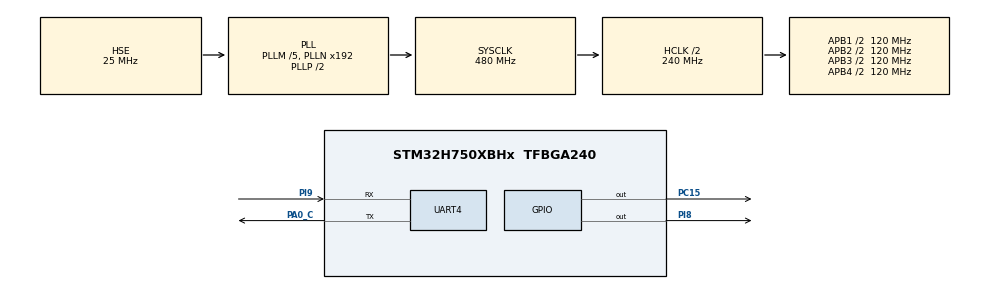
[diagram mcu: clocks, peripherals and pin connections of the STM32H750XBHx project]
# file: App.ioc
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CORTEX_M7.AccessPermission_S-Cortex_Memory_Protection_Unit_Region1_Settings_S=MPU_REGION_FULL_ACCESS
CORTEX_M7.AccessPermission_S-Cortex_Memory_Protection_Unit_Region2_Settings_S=MPU_REGION_FULL_ACCESS
CORTEX_M7.AccessPermission_S-Cortex_Memory_Protection_Unit_Region3_Settings_S=MPU_REGION_FULL_ACCESS
CORTEX_M7.AccessPermission_S-Cortex_Memory_Protection_Unit_Region4_Settings_S=MPU_REGION_FULL_ACCESS
CORTEX_M7.AccessPermission_S-Cortex_Memory_Protection_Unit_Region5_Settings_S=MPU_REGION_FULL_ACCESS
CORTEX_M7.AccessPermission_S-Cortex_Memory_Protection_Unit_Region6_Settings_S=MPU_REGION_FULL_ACCESS
CORTEX_M7.AccessPermission_Spec=MPU_REGION_FULL_ACCESS
CORTEX_M7.BaseAddress_S-Cortex_Memory_Protection_Unit_Region1_Settings_S=0x24000000
CORTEX_M7.BaseAddress_S-Cortex_Memory_Protection_Unit_Region2_Settings_S=0xC0000000
CORTEX_M7.BaseAddress_S-Cortex_Memory_Protection_Unit_Region3_Settings_S=0x60000000
CORTEX_M7.BaseAddress_S-Cortex_Memory_Protection_Unit_Region4_Settings_S=0x30000000
CORTEX_M7.BaseAddress_S-Cortex_Memory_Protection_Unit_Region5_Settings_S=0x30040000
CORTEX_M7.BaseAddress_S-Cortex_Memory_Protection_Unit_Region6_Settings_S=0x38000000
CORTEX_M7.BaseAddress_Spec=0x90000000
CORTEX_M7.CPU_DCache=Enabled
CORTEX_M7.CPU_ICache=Enabled
CORTEX_M7.DisableExec_Spec=MPU_INSTRUCTION_ACCESS_ENABLE
CORTEX_M7.Enable_S-Cortex_Memory_Protection_Unit_Region1_Settings_S=MPU_REGION_ENABLE
CORTEX_M7.Enable_S-Cortex_Memory_Protection_Unit_Region2_Settings_S=MPU_REGION_ENABLE
CORTEX_M7.Enable_S-Cortex_Memory_Protection_Unit_Region3_Settings_S=MPU_REGION_ENABLE
CORTEX_M7.Enable_S-Cortex_Memory_Protection_Unit_Region4_Settings_S=MPU_REGION_ENABLE
CORTEX_M7.Enable_S-Cortex_Memory_Protection_Unit_Region5_Settings_S=MPU_REGION_ENABLE
CORTEX_M7.Enable_S-Cortex_Memory_Protection_Unit_Region6_Settings_S=MPU_REGION_ENABLE
CORTEX_M7.Enable_S-Cortex_Memory_Protection_Unit_Region7_Settings_S=__NULL
CORTEX_M7.IsBufferable_S-Cortex_Memory_Protection_Unit_Region1_Settings_S=MPU_ACCESS_NOT_BUFFERABLE
CORTEX_M7.IsBufferable_S-Cortex_Memory_Protection_Unit_Region2_Settings_S=MPU_ACCESS_BUFFERABLE
CORTEX_M7.IsBufferable_S-Cortex_Memory_Protection_Unit_Region3_Settings_S=MPU_ACCESS_BUFFERABLE
CORTEX_M7.IsBufferable_S-Cortex_Memory_Protection_Unit_Region4_Settings_S=MPU_ACCESS_BUFFERABLE
CORTEX_M7.IsBufferable_S-Cortex_Memory_Protection_Unit_Region5_Settings_S=MPU_ACCESS_BUFFERABLE
CORTEX_M7.IsBufferable_S-Cortex_Memory_Protection_Unit_Region6_Settings_S=MPU_ACCESS_BUFFERABLE
CORTEX_M7.IsBufferable_Spec=MPU_ACCESS_BUFFERABLE
CORTEX_M7.IsCacheable_S-Cortex_Memory_Protection_Unit_Region1_Settings_S=MPU_ACCESS_NOT_CACHEABLE
CORTEX_M7.IsCacheable_S-Cortex_Memory_Protection_Unit_Region2_Settings_S=MPU_ACCESS_CACHEABLE
CORTEX_M7.IsCacheable_S-Cortex_Memory_Protection_Unit_Region4_Settings_S=MPU_ACCESS_CACHEABLE
CORTEX_M7.IsCacheable_S-Cortex_Memory_Protection_Unit_Region5_Settings_S=MPU_ACCESS_CACHEABLE
CORTEX_M7.IsCacheable_S-Cortex_Memory_Protection_Unit_Region6_Settings_S=MPU_ACCESS_CACHEABLE
CORTEX_M7.IsCacheable_Spec=MPU_ACCESS_CACHEABLE
CORTEX_M7.IsShareable_Spec=MPU_ACCESS_NOT_SHAREABLE
CORTEX_M7.MPU_Control=MPU_HFNMI_PRIVDEF
CORTEX_M7.Size_S-Cortex_Memory_Protection_Unit_Region1_Settings_S=MPU_REGION_SIZE_512KB
CORTEX_M7.Size_S-Cortex_Memory_Protection_Unit_Region2_Settings_S=MPU_REGION_SIZE_512KB
CORTEX_M7.Size_S-Cortex_Memory_Protection_Unit_Region3_Settings_S=MPU_REGION_SIZE_64KB
CORTEX_M7.Size_S-Cortex_Memory_Protection_Unit_Region4_Settings_S=MPU_REGION_SIZE_256KB
CORTEX_M7.Size_S-Cortex_Memory_Protection_Unit_Region5_Settings_S=MPU_REGION_SIZE_32KB
CORTEX_M7.Size_S-Cortex_Memory_Protection_Unit_Region6_Settings_S=MPU_REGION_SIZE_64KB
CORTEX_M7.Size_Spec=MPU_REGION_SIZE_256MB
CORTEX_M7.SubRegionDisable_Spec=0x0
CORTEX_M7.TypeExtField_S-Cortex_Memory_Protection_Unit_Region1_Settings_S=MPU_TEX_LEVEL1
CORTEX_M7.TypeExtField_S-Cortex_Memory_Protection_Unit_Region2_Settings_S=MPU_TEX_LEVEL1
CORTEX_M7.TypeExtField_S-Cortex_Memory_Protection_Unit_Region3_Settings_S=MPU_TEX_LEVEL0
CORTEX_M7.TypeExtField_S-Cortex_Memory_Protection_Unit_Region4_Settings_S=MPU_TEX_LEVEL1
CORTEX_M7.TypeExtField_S-Cortex_Memory_Protection_Unit_Region5_Settings_S=MPU_TEX_LEVEL1
CORTEX_M7.TypeExtField_S-Cortex_Memory_Protection_Unit_Region6_Settings_S=MPU_TEX_LEVEL1
CORTEX_M7.TypeExtField_Spec=MPU_TEX_LEVEL1
CORTEX_M7.default_mode_Activation=1
Mcu.Family=STM32H7
Mcu.Name=STM32H750XBHx
Mcu.Package=TFBGA240
NVIC.PriorityGroup=NVIC_PRIORITYGROUP_4
PA0_C.Mode=Asynchronous
PA0_C.Signal=UART4_TX
PC14-OSC32_IN\ (OSC32_IN).Mode=LSE-External-Clock-Source
PC14-OSC32_IN\ (OSC32_IN).Signal=RCC_OSC32_IN
PC15-OSC32_OUT\ (OSC32_OUT).PinState=GPIO_PIN_SET
PC15-OSC32_OUT\ (OSC32_OUT).Signal=GPIO_Output
PH0-OSC_IN\ (PH0).Mode=HSE-External-Oscillator
PH0-OSC_IN\ (PH0).Signal=RCC_OSC_IN
PH1-OSC_OUT\ (PH1).Mode=HSE-External-Oscillator
PH1-OSC_OUT\ (PH1).Signal=RCC_OSC_OUT
PI8.PinState=GPIO_PIN_SET
PI8.Signal=GPIO_Output
PI9.Mode=Asynchronous
PI9.Signal=UART4_RX
ProjectManager.HeapSize=0x200
ProjectManager.StackSize=0x400
ProjectManager.TargetToolchain=MDK-ARM V5.32
RCC.ADCFreq_Value=300000000
RCC.APB1Freq_Value=120000000
RCC.APB2Freq_Value=120000000
RCC.APB3Freq_Value=120000000
RCC.APB4Freq_Value=120000000
RCC.CortexFreq_Value=480000000
RCC.D1PPRE=RCC_APB3_DIV2
RCC.D2PPRE1=RCC_APB1_DIV2
RCC.D2PPRE2=RCC_APB2_DIV2
RCC.D3PPRE=RCC_APB4_DIV2
RCC.DIVM1=5
RCC.DIVM2=5
RCC.DIVN1=192
RCC.DIVN2=120
RCC.FMCCLockSelection=RCC_FMCCLKSOURCE_PLL2
RCC.HCLKFreq_Value=240000000
RCC.HPRE=RCC_HCLK_DIV2
RCC.PLLSourceVirtual=RCC_PLLSOURCE_HSE
RCC.PWR_Regulator_Voltage_Scale=PWR_REGULATOR_VOLTAGE_SCALE0
RCC.ProductRev=revV
RCC.SYSCLKFreq_VALUE=480000000
RCC.SYSCLKSource=RCC_SYSCLKSOURCE_PLLCLK
RCC.USBFreq_Value=480000000
board=custom

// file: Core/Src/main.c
/* USER CODE BEGIN Header */
/**
  ******************************************************************************
  * @file           : main.c
  * @brief          : Main program body
  ******************************************************************************
  * @attention
  *
  * Copyright (c) 2023 STMicroelectronics.
  * All rights reserved.
  *
  * This software is licensed under terms that can be found in the LICENSE file
  * in the root directory of this software component.
  * If no LICENSE file comes with this software, it is provided AS-IS.
  *
  ******************************************************************************
  */
/* USER CODE END Header */
#include "main.h"
#include "usart.h"
#include "gpio.h"

/* USER CODE BEGIN Includes */
#include "stdio.h"
#include "EventRecorder.h"
/* USER CODE END Includes */

void SystemClock_Config(void);
static void MPU_Config(void);

/* USER CODE BEGIN 0 */
static void vtor_config(void)
{
    SCB->VTOR = QSPI_BASE;		// 重定位中断向量表

    /* clear all NVIC Enable and Pending registers */
    for(uint8_t i = 0; i < 8; i++)
    {
        NVIC->ICER[i] = 0xFFFFFFFF;
        NVIC->ICPR[i] = 0xFFFFFFFF;
    }

    __enable_irq();
    __set_PRIMASK(0);
}

static void dwt_init(void)
{
    DWT->CTRL |= DWT_CTRL_CYCCNTENA_Msk;
    DWT->CYCCNT = (uint32_t)0u;
    CoreDebug->DEMCR |= CoreDebug_DEMCR_TRCENA_Msk;
}

__attribute__((section(".SDRAM")))	uint32_t test[4096];
/* USER CODE END 0 */

int main(void)
{
    /* USER CODE BEGIN 1 */
	static uint32_t test2[1024];
    vtor_config();
    dwt_init();
    /* USER CODE END 1 */

    /* MPU Configuration--------------------------------------------------------*/
    MPU_Config();

    /* Enable I-Cache---------------------------------------------------------*/
    SCB_EnableICache();

    /* Enable D-Cache---------------------------------------------------------*/
    SCB_EnableDCache();

    /* MCU Configuration--------------------------------------------------------*/

    /* Reset of all peripherals, Initializes the Flash interface and the Systick. */
    HAL_Init();

    /* Configure the system clock */
    SystemClock_Config();

    /* Initialize all configured peripherals */
    MX_GPIO_Init();
    MX_UART4_Init();
    /* USER CODE BEGIN 2 */
#ifdef EventRecorder_ENABLE
    EventRecorderInitialize(EventRecordAll, 1U);
    EventRecorderStart();
#endif

    for(int i = 0; i < 4096; ++i)	test[i] = 4096 - i;
    for(int i = 0; i < 4096; ++i)
    {
        printf("%04d ", test[i]);
        if((i + 1) % 8 == 0)	printf("\r\n");
    }

    for(int i = 0; i < 4096; ++i)	test2[i] = 4096 - i;
    for(int i = 0; i < 4096; ++i)
    {
        printf("%04d ", test2[i]);
        if((i + 1) % 8 == 0)	printf("\r\n");
    }
    /* USER CODE END 2 */

    /* Infinite loop */
    /* USER CODE BEGIN WHILE */
    while (1)
    {
        HAL_Delay(1000);
        LED_B_TOGGLE();
        printf("Looping\r\n");
        /* USER CODE END WHILE */

    }
}

void SystemClock_Config(void)
{
    RCC_OscInitTypeDef RCC_OscInitStruct = {0};
    RCC_ClkInitTypeDef RCC_ClkInitStruct = {0};

    /** Supply configuration update enable
    */
    HAL_PWREx_ConfigSupply(PWR_LDO_SUPPLY);

    /** Configure the main internal regulator output voltage
    */
    __HAL_PWR_VOLTAGESCALING_CONFIG(PWR_REGULATOR_VOLTAGE_SCALE1);

    while(!__HAL_PWR_GET_FLAG(PWR_FLAG_VOSRDY)) {}

    __HAL_RCC_SYSCFG_CLK_ENABLE();
    __HAL_PWR_VOLTAGESCALING_CONFIG(PWR_REGULATOR_VOLTAGE_SCALE0);

    while(!__HAL_PWR_GET_FLAG(PWR_FLAG_VOSRDY)) {}

    /** Initializes the RCC Oscillators according to the specified parameters
    * in the RCC_OscInitTypeDef structure.
    */
    RCC_OscInitStruct.OscillatorType = RCC_OSCILLATORTYPE_HSE;
    RCC_OscInitStruct.HSEState = RCC_HSE_ON;
    RCC_OscInitStruct.PLL.PLLState = RCC_PLL_ON;
    RCC_OscInitStruct.PLL.PLLSource = RCC_PLLSOURCE_HSE;
    RCC_OscInitStruct.PLL.PLLM = 5;
    RCC_OscInitStruct.PLL.PLLN = 192;
    RCC_OscInitStruct.PLL.PLLP = 2;
    RCC_OscInitStruct.PLL.PLLQ = 2;
    RCC_OscInitStruct.PLL.PLLR = 2;
    RCC_OscInitStruct.PLL.PLLRGE = RCC_PLL1VCIRANGE_2;
    RCC_OscInitStruct.PLL.PLLVCOSEL = RCC_PLL1VCOWIDE;
    RCC_OscInitStruct.PLL.PLLFRACN = 0;
    if (HAL_RCC_OscConfig(&RCC_OscInitStruct) != HAL_OK)
    {
        Error_Handler();
    }

    /** Initializes the CPU, AHB and APB buses clocks
    */
    RCC_ClkInitStruct.ClockType = RCC_CLOCKTYPE_HCLK | RCC_CLOCKTYPE_SYSCLK
                                  | RCC_CLOCKTYPE_PCLK1 | RCC_CLOCKTYPE_PCLK2
                                  | RCC_CLOCKTYPE_D3PCLK1 | RCC_CLOCKTYPE_D1PCLK1;
    RCC_ClkInitStruct.SYSCLKSource = RCC_SYSCLKSOURCE_PLLCLK;
    RCC_ClkInitStruct.SYSCLKDivider = RCC_SYSCLK_DIV1;
    RCC_ClkInitStruct.AHBCLKDivider = RCC_HCLK_DIV2;
    RCC_ClkInitStruct.APB3CLKDivider = RCC_APB3_DIV2;
    RCC_ClkInitStruct.APB1CLKDivider = RCC_APB1_DIV2;
    RCC_ClkInitStruct.APB2CLKDivider = RCC_APB2_DIV2;
    RCC_ClkInitStruct.APB4CLKDivider = RCC_APB4_DIV2;

    if (HAL_RCC_ClockConfig(&RCC_ClkInitStruct, FLASH_LATENCY_4) != HAL_OK)
    {
        Error_Handler();
    }
}

/* USER CODE BEGIN 4 */
/* ------------------通过重定向将printf函数映射到串口1上-------------------*/
#ifndef EventRecorder_ENABLE
#if !defined(__MICROLIB)

//#pragma import(__use_no_semihosting)
__asm (".global __use_no_semihosting\n\t");
void _sys_exit(int x) //避免使用半主机模式
{
    x = x;
}
//__use_no_semihosting was requested, but _ttywrch was
void _ttywrch(int ch)
{
    ch = ch;
}
//struct __FILE
//{
//  int handle;
//};
FILE __stdout;

#endif

#if defined ( __GNUC__ ) && !defined (__clang__)
#define PUTCHAR_PROTOTYPE int __io_putchar(int ch)
#else
#define PUTCHAR_PROTOTYPE int fputc(int ch, FILE *f)
#endif
PUTCHAR_PROTOTYPE
{
    /* 实现串口发送一个字节数据的函数 */
    HAL_UART_Transmit(&huart4, (uint8_t *)&ch, 1, 1000);
    return ch;
}
#endif
/* USER CODE END 4 */

/* MPU Configuration */

void MPU_Config(void)
{
    MPU_Region_InitTypeDef MPU_InitStruct = {0};

    /* Disables the MPU */
    HAL_MPU_Disable();

    /** Initializes and configures the Region and the memory to be protected
    */
    MPU_InitStruct.Enable = MPU_REGION_ENABLE;
    MPU_InitStruct.Number = MPU_REGION_NUMBER0;
    MPU_InitStruct.BaseAddress = 0x90000000;
    MPU_InitStruct.Size = MPU_REGION_SIZE_256MB;
    MPU_InitStruct.SubRegionDisable = 0x0;
    MPU_InitStruct.TypeExtField = MPU_TEX_LEVEL1;
    MPU_InitStruct.AccessPermission = MPU_REGION_FULL_ACCESS;
    MPU_InitStruct.DisableExec = MPU_INSTRUCTION_ACCESS_ENABLE;
    MPU_InitStruct.IsShareable = MPU_ACCESS_NOT_SHAREABLE;
    MPU_InitStruct.IsCacheable = MPU_ACCESS_CACHEABLE;
    MPU_InitStruct.IsBufferable = MPU_ACCESS_BUFFERABLE;

    HAL_MPU_ConfigRegion(&MPU_InitStruct);

    /** Initializes and configures the Region and the memory to be protected
    */
    MPU_InitStruct.Number = MPU_REGION_NUMBER1;
    MPU_InitStruct.BaseAddress = 0x24000000;
    MPU_InitStruct.Size = MPU_REGION_SIZE_512KB;
    MPU_InitStruct.IsCacheable = MPU_ACCESS_NOT_CACHEABLE;
    MPU_InitStruct.IsBufferable = MPU_ACCESS_NOT_BUFFERABLE;

    HAL_MPU_ConfigRegion(&MPU_InitStruct);

    /** Initializes and configures the Region and the memory to be protected
    */
    MPU_InitStruct.Number = MPU_REGION_NUMBER2;
    MPU_InitStruct.BaseAddress = 0xC0000000;
    MPU_InitStruct.IsCacheable = MPU_ACCESS_CACHEABLE;
    MPU_InitStruct.IsBufferable = MPU_ACCESS_BUFFERABLE;

    HAL_MPU_ConfigRegion(&MPU_InitStruct);

    /** Initializes and configures the Region and the memory to be protected
    */
    MPU_InitStruct.Number = MPU_REGION_NUMBER3;
    MPU_InitStruct.BaseAddress = 0x60000000;
    MPU_InitStruct.Size = MPU_REGION_SIZE_64KB;
    MPU_InitStruct.TypeExtField = MPU_TEX_LEVEL0;
    MPU_InitStruct.IsCacheable = MPU_ACCESS_NOT_CACHEABLE;

    HAL_MPU_ConfigRegion(&MPU_InitStruct);

    /** Initializes and configures the Region and the memory to be protected
    */
    MPU_InitStruct.Number = MPU_REGION_NUMBER4;
    MPU_InitStruct.BaseAddress = 0x30000000;
    MPU_InitStruct.Size = MPU_REGION_SIZE_256KB;
    MPU_InitStruct.TypeExtField = MPU_TEX_LEVEL1;
    MPU_InitStruct.IsCacheable = MPU_ACCESS_CACHEABLE;

    HAL_MPU_ConfigRegion(&MPU_InitStruct);

    /** Initializes and configures the Region and the memory to be protected
    */
    MPU_InitStruct.Number = MPU_REGION_NUMBER5;
    MPU_InitStruct.BaseAddress = 0x30040000;
    MPU_InitStruct.Size = MPU_REGION_SIZE_32KB;

    HAL_MPU_ConfigRegion(&MPU_InitStruct);

    /** Initializes and configures the Region and the memory to be protected
    */
    MPU_InitStruct.Number = MPU_REGION_NUMBER6;
    MPU_InitStruct.BaseAddress = 0x38000000;
    MPU_InitStruct.Size = MPU_REGION_SIZE_64KB;

    HAL_MPU_ConfigRegion(&MPU_InitStruct);
    /* Enables the MPU */
    HAL_MPU_Enable(MPU_HFNMI_PRIVDEF);

}

void Error_Handler(void)
{
    __disable_irq();
    while (1)
    {
    }
}
